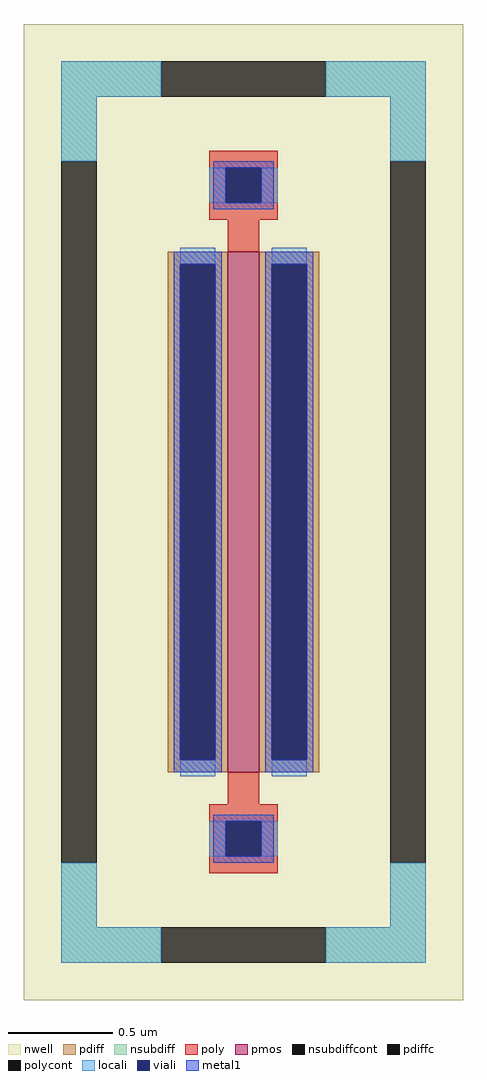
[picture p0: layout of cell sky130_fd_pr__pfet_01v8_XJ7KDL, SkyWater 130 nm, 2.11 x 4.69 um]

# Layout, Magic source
magic
tech sky130A
magscale 1 2
<< nwell >>
rect -211 -469 211 469
<< pmos >>
rect -15 -250 15 250
<< pdiff >>
rect -73 238 -15 250
rect -73 -238 -61 238
rect -27 -238 -15 238
rect -73 -250 -15 -238
rect 15 238 73 250
rect 15 -238 27 238
rect 61 -238 73 238
rect 15 -250 73 -238
<< pdiffc >>
rect -61 -238 -27 238
rect 27 -238 61 238
<< nsubdiff >>
rect -175 399 -79 433
rect 79 399 175 433
rect -175 337 -141 399
rect 141 337 175 399
rect -175 -399 -141 -337
rect 141 -399 175 -337
rect -175 -433 -79 -399
rect 79 -433 175 -399
<< nsubdiffcont >>
rect -79 399 79 433
rect -175 -337 -141 337
rect 141 -337 175 337
rect -79 -433 79 -399
<< poly >>
rect -33 331 33 347
rect -33 297 -17 331
rect 17 297 33 331
rect -33 281 33 297
rect -15 250 15 281
rect -15 -281 15 -250
rect -33 -297 33 -281
rect -33 -331 -17 -297
rect 17 -331 33 -297
rect -33 -347 33 -331
<< polycont >>
rect -17 297 17 331
rect -17 -331 17 -297
<< locali >>
rect -175 399 -79 433
rect 79 399 175 433
rect -175 337 -141 399
rect 141 337 175 399
rect -33 297 -17 331
rect 17 297 33 331
rect -61 238 -27 254
rect -61 -254 -27 -238
rect 27 238 61 254
rect 27 -254 61 -238
rect -33 -331 -17 -297
rect 17 -331 33 -297
rect -175 -399 -141 -337
rect 141 -399 175 -337
rect -175 -433 -79 -399
rect 79 -433 175 -399
<< viali >>
rect -17 297 17 331
rect -61 -238 -27 238
rect 27 -238 61 238
rect -17 -331 17 -297
<< metal1 >>
rect -29 331 29 337
rect -29 297 -17 331
rect 17 297 29 331
rect -29 291 29 297
rect -67 238 -21 250
rect -67 -238 -61 238
rect -27 -238 -21 238
rect -67 -250 -21 -238
rect 21 238 67 250
rect 21 -238 27 238
rect 61 -238 67 238
rect 21 -250 67 -238
rect -29 -297 29 -291
rect -29 -331 -17 -297
rect 17 -331 29 -297
rect -29 -337 29 -331
<< properties >>
string FIXED_BBOX -158 -416 158 416
string gencell sky130_fd_pr__pfet_01v8
string library sky130
string parameters w 2.5 l 0.15 m 1 nf 1 diffcov 100 polycov 100 guard 1 glc 1 grc 1 gtc 1 gbc 1 tbcov 100 rlcov 100 topc 1 botc 1 poverlap 0 doverlap 1 lmin 0.15 wmin 0.42 compatible {sky130_fd_pr__pfet_01v8  sky130_fd_pr__pfet_01v8_lvt sky130_fd_pr__pfet_01v8_hvt  sky130_fd_pr__pfet_g5v0d10v5} full_metal 1 viasrc 100 viadrn 100 viagate 100 viagb 0 viagr 0 viagl 0 viagt 0
<< end >>
